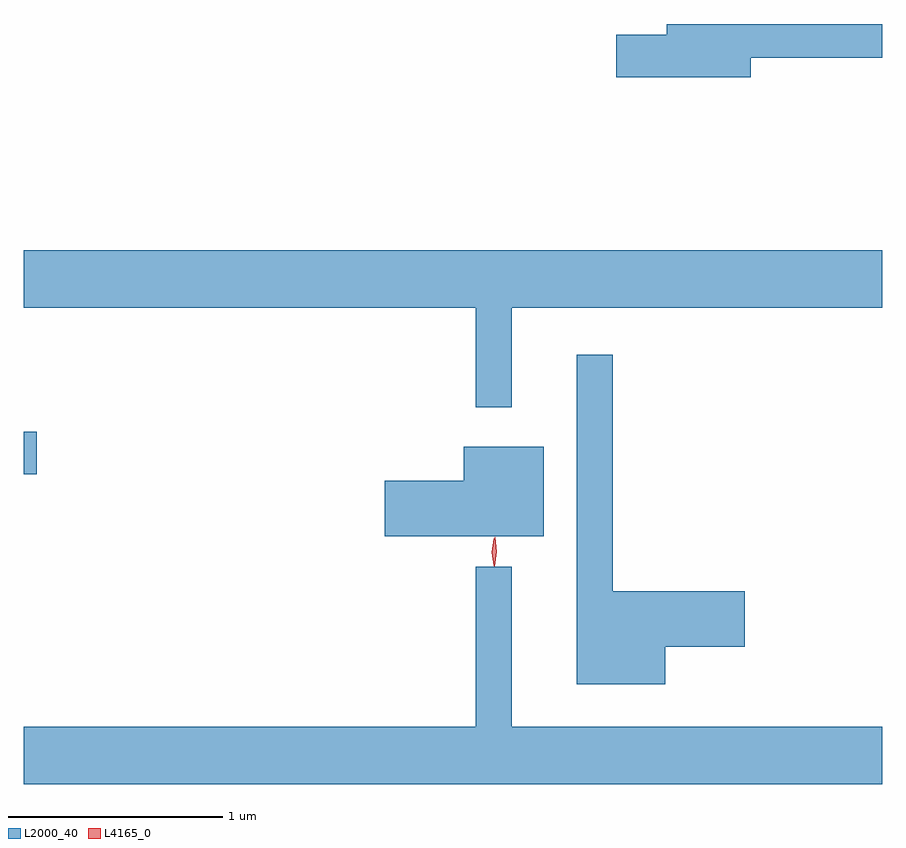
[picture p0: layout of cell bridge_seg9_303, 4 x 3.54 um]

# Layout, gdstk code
import gdstk
lib = gdstk.Library(unit=1e-6, precision=1e-09)
def R(c, l, rs):  # rectangles x0, y0, x1, y1
    for r in rs: c.add(gdstk.rectangle(r[:2], r[2:], *l))
def P(c, l, *ps):  # polygons
    for p in ps: c.add(gdstk.Polygon(p, *l))
L2000_40 = (2000, 40)
L4165_0 = (4165, 0)

bridge_seg9_303 = lib.new_cell('bridge_seg9_303')
R(bridge_seg9_303, L2000_40, [(944.735,2075.401,944.794,2075.599)])
P(bridge_seg9_303, L2000_40, [(948.124,2077.341),(948.735,2077.341),(948.735,2077.499),(947.731,2077.499),(947.731,2077.449),(947.496,2077.449),(947.496,2077.251),(948.124,2077.251)],
  [(947.009,2076.176),(948.735,2076.176),(948.735,2076.444),(944.735,2076.444),(944.735,2076.176),(946.841,2076.176),(946.841,2075.713),(947.009,2075.713)],
  [(947.724,2074.596),(948.094,2074.596),(948.094,2074.854),(947.479,2074.854),(947.479,2075.958),(947.311,2075.958),(947.311,2074.421),(947.724,2074.421)],
  [(947.159,2075.529),(946.786,2075.529),(946.786,2075.369),(946.416,2075.369),(946.416,2075.111),(947.159,2075.111)],
  [(948.735,2074.224),(947.009,2074.224),(947.009,2074.968),(946.841,2074.968),(946.841,2074.224),(944.735,2074.224),(944.735,2073.956),(948.735,2073.956)])
P(bridge_seg9_303, L4165_0, [(946.928,2074.97),(946.928,2074.97),(946.919,2075.038),(946.93,2075.106),(946.93,2075.106),(946.931,2075.106),(946.939,2075.038),(946.929,2074.97)],
  [(946.924,2074.973),(946.915,2075.036),(946.924,2075.1),(946.925,2075.1),(946.926,2075.1),(946.935,2075.036),(946.926,2074.973),(946.925,2074.973)])

lib.write_gds('bridge_seg9_303.gds')
